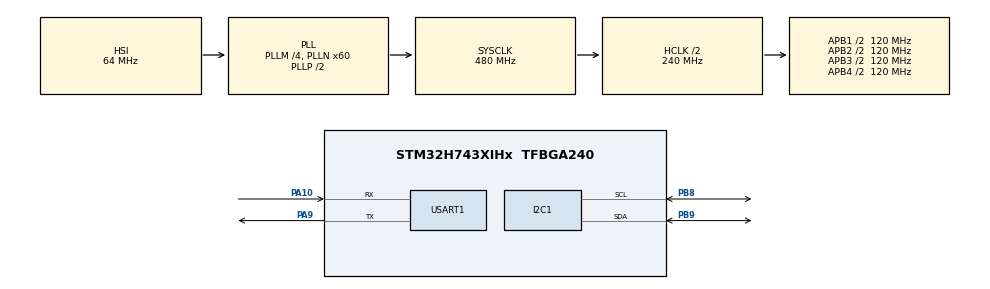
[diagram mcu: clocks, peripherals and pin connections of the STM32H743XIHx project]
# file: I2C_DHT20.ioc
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CORTEX_M7.default_mode_Activation=1
Dma.I2C1_RX.2.Direction=DMA_PERIPH_TO_MEMORY
Dma.I2C1_RX.2.EventEnable=DISABLE
Dma.I2C1_RX.2.FIFOMode=DMA_FIFOMODE_DISABLE
Dma.I2C1_RX.2.Instance=DMA1_Stream2
Dma.I2C1_RX.2.MemDataAlignment=DMA_MDATAALIGN_BYTE
Dma.I2C1_RX.2.MemInc=DMA_MINC_ENABLE
Dma.I2C1_RX.2.Mode=DMA_NORMAL
Dma.I2C1_RX.2.PeriphDataAlignment=DMA_PDATAALIGN_BYTE
Dma.I2C1_RX.2.PeriphInc=DMA_PINC_DISABLE
Dma.I2C1_RX.2.Polarity=HAL_DMAMUX_REQ_GEN_RISING
Dma.I2C1_RX.2.Priority=DMA_PRIORITY_LOW
Dma.I2C1_RX.2.RequestNumber=1
Dma.I2C1_RX.2.SignalID=NONE
Dma.I2C1_RX.2.SyncEnable=DISABLE
Dma.I2C1_RX.2.SyncPolarity=HAL_DMAMUX_SYNC_NO_EVENT
Dma.I2C1_RX.2.SyncRequestNumber=1
Dma.I2C1_RX.2.SyncSignalID=NONE
Dma.I2C1_TX.3.Direction=DMA_MEMORY_TO_PERIPH
Dma.I2C1_TX.3.EventEnable=DISABLE
Dma.I2C1_TX.3.FIFOMode=DMA_FIFOMODE_DISABLE
Dma.I2C1_TX.3.Instance=DMA1_Stream3
Dma.I2C1_TX.3.MemDataAlignment=DMA_MDATAALIGN_BYTE
Dma.I2C1_TX.3.MemInc=DMA_MINC_ENABLE
Dma.I2C1_TX.3.Mode=DMA_NORMAL
Dma.I2C1_TX.3.PeriphDataAlignment=DMA_PDATAALIGN_BYTE
Dma.I2C1_TX.3.PeriphInc=DMA_PINC_DISABLE
Dma.I2C1_TX.3.Polarity=HAL_DMAMUX_REQ_GEN_RISING
Dma.I2C1_TX.3.Priority=DMA_PRIORITY_LOW
Dma.I2C1_TX.3.RequestNumber=1
Dma.I2C1_TX.3.SignalID=NONE
Dma.I2C1_TX.3.SyncEnable=DISABLE
Dma.I2C1_TX.3.SyncPolarity=HAL_DMAMUX_SYNC_NO_EVENT
Dma.I2C1_TX.3.SyncRequestNumber=1
Dma.I2C1_TX.3.SyncSignalID=NONE
Dma.Request0=USART1_RX
Dma.Request1=USART1_TX
Dma.Request2=I2C1_RX
Dma.Request3=I2C1_TX
Dma.USART1_RX.0.Direction=DMA_PERIPH_TO_MEMORY
Dma.USART1_RX.0.EventEnable=DISABLE
Dma.USART1_RX.0.FIFOMode=DMA_FIFOMODE_DISABLE
Dma.USART1_RX.0.Instance=DMA1_Stream0
Dma.USART1_RX.0.MemDataAlignment=DMA_MDATAALIGN_BYTE
Dma.USART1_RX.0.MemInc=DMA_MINC_ENABLE
Dma.USART1_RX.0.Mode=DMA_NORMAL
Dma.USART1_RX.0.PeriphDataAlignment=DMA_PDATAALIGN_BYTE
Dma.USART1_RX.0.PeriphInc=DMA_PINC_DISABLE
Dma.USART1_RX.0.Polarity=HAL_DMAMUX_REQ_GEN_RISING
Dma.USART1_RX.0.Priority=DMA_PRIORITY_LOW
Dma.USART1_RX.0.RequestNumber=1
Dma.USART1_RX.0.SignalID=NONE
Dma.USART1_RX.0.SyncEnable=DISABLE
Dma.USART1_RX.0.SyncPolarity=HAL_DMAMUX_SYNC_NO_EVENT
Dma.USART1_RX.0.SyncRequestNumber=1
Dma.USART1_RX.0.SyncSignalID=NONE
Dma.USART1_TX.1.Direction=DMA_MEMORY_TO_PERIPH
Dma.USART1_TX.1.EventEnable=DISABLE
Dma.USART1_TX.1.FIFOMode=DMA_FIFOMODE_DISABLE
Dma.USART1_TX.1.Instance=DMA1_Stream1
Dma.USART1_TX.1.MemDataAlignment=DMA_MDATAALIGN_BYTE
Dma.USART1_TX.1.MemInc=DMA_MINC_ENABLE
Dma.USART1_TX.1.Mode=DMA_NORMAL
Dma.USART1_TX.1.PeriphDataAlignment=DMA_PDATAALIGN_BYTE
Dma.USART1_TX.1.PeriphInc=DMA_PINC_DISABLE
Dma.USART1_TX.1.Polarity=HAL_DMAMUX_REQ_GEN_RISING
Dma.USART1_TX.1.Priority=DMA_PRIORITY_LOW
Dma.USART1_TX.1.RequestNumber=1
Dma.USART1_TX.1.SignalID=NONE
Dma.USART1_TX.1.SyncEnable=DISABLE
Dma.USART1_TX.1.SyncPolarity=HAL_DMAMUX_SYNC_NO_EVENT
Dma.USART1_TX.1.SyncRequestNumber=1
Dma.USART1_TX.1.SyncSignalID=NONE
I2C1.Timing=0x307075B1
Mcu.Family=STM32H7
Mcu.Name=STM32H743XIHx
Mcu.Package=TFBGA240
NVIC.DMA1_Stream0_IRQn=true\:0\:0\:false\:false\:true\:false\:true\:true
NVIC.DMA1_Stream1_IRQn=true\:0\:0\:false\:false\:true\:false\:true\:true
NVIC.DMA1_Stream2_IRQn=true\:0\:0\:false\:false\:true\:false\:true\:true
NVIC.DMA1_Stream3_IRQn=true\:0\:0\:false\:false\:true\:false\:true\:true
NVIC.I2C1_ER_IRQn=true\:0\:0\:false\:false\:true\:true\:true\:true
NVIC.I2C1_EV_IRQn=true\:0\:0\:false\:false\:true\:true\:true\:true
NVIC.PriorityGroup=NVIC_PRIORITYGROUP_4
NVIC.USART1_IRQn=true\:0\:0\:false\:false\:true\:true\:true\:true
PA10.Mode=Asynchronous
PA10.Signal=USART1_RX
PA9.Mode=Asynchronous
PA9.Signal=USART1_TX
PB8.Mode=I2C
PB8.Signal=I2C1_SCL
PB9.Mode=I2C
PB9.Signal=I2C1_SDA
PC14-OSC32_IN\ (OSC32_IN).Mode=LSE-External-Oscillator
PC14-OSC32_IN\ (OSC32_IN).Signal=RCC_OSC32_IN
PC15-OSC32_OUT\ (OSC32_OUT).Mode=LSE-External-Oscillator
PC15-OSC32_OUT\ (OSC32_OUT).Signal=RCC_OSC32_OUT
PH0-OSC_IN\ (PH0).Mode=HSE-External-Oscillator
PH0-OSC_IN\ (PH0).Signal=RCC_OSC_IN
PH1-OSC_OUT\ (PH1).Mode=HSE-External-Oscillator
PH1-OSC_OUT\ (PH1).Signal=RCC_OSC_OUT
ProjectManager.HeapSize=0x200
ProjectManager.StackSize=0x400
ProjectManager.TargetToolchain=STM32CubeIDE
RCC.ADCFreq_Value=129000000
RCC.APB1Freq_Value=120000000
RCC.APB2Freq_Value=120000000
RCC.APB3Freq_Value=120000000
RCC.APB4Freq_Value=120000000
RCC.CortexFreq_Value=480000000
RCC.D1PPRE=RCC_APB3_DIV2
RCC.D2PPRE1=RCC_APB1_DIV2
RCC.D2PPRE2=RCC_APB2_DIV2
RCC.D3PPRE=RCC_APB4_DIV2
RCC.DIVM1=4
RCC.DIVN1=60
RCC.HCLKFreq_Value=240000000
RCC.HPRE=RCC_HCLK_DIV2
RCC.PLL2FRACN=0
RCC.PLL3FRACN=0
RCC.PLLFRACN=0
RCC.SYSCLKFreq_VALUE=480000000
RCC.SYSCLKSource=RCC_SYSCLKSOURCE_PLLCLK
RCC.USBFreq_Value=480000000
USART1.VirtualMode-Asynchronous=VM_ASYNC
board=custom

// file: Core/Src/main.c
/* USER CODE BEGIN Header */
/**
  ******************************************************************************
  * @file           : main.c
  * @brief          : Main program body
  ******************************************************************************
  * @attention
  *
  * Copyright (c) 2024 STMicroelectronics.
  * All rights reserved.
  *
  * This software is licensed under terms that can be found in the LICENSE file
  * in the root directory of this software component.
  * If no LICENSE file comes with this software, it is provided AS-IS.
  *
  ******************************************************************************
  */
/* USER CODE END Header */
#include "main.h"
#include "dma.h"
#include "i2c.h"
#include "usart.h"
#include "gpio.h"

/* USER CODE BEGIN Includes */

#include "dht20.h"
#include <stdio.h>
#include <string.h>

/* USER CODE END Includes */

/* USER CODE BEGIN PV */

// 0: 发送测量命令	1: 命令发送中		2: 80ms后读取DHT20状态		3: 数据读取中		4: 数据解析
uint8_t dht20State = 0;

/* USER CODE END PV */

void SystemClock_Config(void);
static void MPU_Config(void);

int main(void)
{

  /* MPU Configuration--------------------------------------------------------*/
  MPU_Config();

  /* MCU Configuration--------------------------------------------------------*/

  /* Reset of all peripherals, Initializes the Flash interface and the Systick. */
  HAL_Init();

  /* Configure the system clock */
  SystemClock_Config();

  /* Initialize all configured peripherals */
  MX_GPIO_Init();
  MX_DMA_Init();
  MX_USART1_UART_Init();
  MX_I2C1_Init();
  /* USER CODE BEGIN 2 */

  HAL_Delay(100);
  DHT20_Init();
  float temp = 0, humi = 0;
  char message[50] = { 0 };

  /* USER CODE END 2 */

  /* Infinite loop */
  /* USER CODE BEGIN WHILE */
  while (1)
  {
	  if(dht20State == 0)
	  {
		  DHT20_Measure();
		  dht20State = 1;
	  }
	  else if(dht20State == 2)
	  {
		HAL_Delay(80);
		while((STATUS_Read() & 0x80) == 0x80)
		{

		}
		DHT20_Get();
		dht20State = 3;
	  }
	  else if(dht20State == 4)
	  {
		  DHT20_Analysis(&temp, &humi);
		  sprintf(message, "温度: %.1f°C, 湿度: %.1f%%\r\n", temp, humi);
		  HAL_UART_Transmit(&huart1, (uint8_t*)message, strlen(message), HAL_MAX_DELAY);
		  HAL_Delay(1000);
		  dht20State = 0;
	  }

//	  DHT20_Read(&temp, &humi);
//	  sprintf(message, "温度: %.1f°C, 湿度: %.1f%%\r\n", temp, humi);
//	  HAL_UART_Transmit(&huart1, (uint8_t*)message, strlen(message), HAL_MAX_DELAY);
//	  HAL_Delay(1000);

    /* USER CODE END WHILE */

  }
}

void SystemClock_Config(void)
{
  RCC_OscInitTypeDef RCC_OscInitStruct = {0};
  RCC_ClkInitTypeDef RCC_ClkInitStruct = {0};

  /** Supply configuration update enable
  */
  HAL_PWREx_ConfigSupply(PWR_LDO_SUPPLY);

  /** Configure the main internal regulator output voltage
  */
  __HAL_PWR_VOLTAGESCALING_CONFIG(PWR_REGULATOR_VOLTAGE_SCALE1);

  while(!__HAL_PWR_GET_FLAG(PWR_FLAG_VOSRDY)) {}

  __HAL_RCC_SYSCFG_CLK_ENABLE();
  __HAL_PWR_VOLTAGESCALING_CONFIG(PWR_REGULATOR_VOLTAGE_SCALE0);

  while(!__HAL_PWR_GET_FLAG(PWR_FLAG_VOSRDY)) {}

  /** Initializes the RCC Oscillators according to the specified parameters
  * in the RCC_OscInitTypeDef structure.
  */
  RCC_OscInitStruct.OscillatorType = RCC_OSCILLATORTYPE_HSI;
  RCC_OscInitStruct.HSIState = RCC_HSI_DIV1;
  RCC_OscInitStruct.HSICalibrationValue = RCC_HSICALIBRATION_DEFAULT;
  RCC_OscInitStruct.PLL.PLLState = RCC_PLL_ON;
  RCC_OscInitStruct.PLL.PLLSource = RCC_PLLSOURCE_HSI;
  RCC_OscInitStruct.PLL.PLLM = 4;
  RCC_OscInitStruct.PLL.PLLN = 60;
  RCC_OscInitStruct.PLL.PLLP = 2;
  RCC_OscInitStruct.PLL.PLLQ = 2;
  RCC_OscInitStruct.PLL.PLLR = 2;
  RCC_OscInitStruct.PLL.PLLRGE = RCC_PLL1VCIRANGE_3;
  RCC_OscInitStruct.PLL.PLLVCOSEL = RCC_PLL1VCOWIDE;
  RCC_OscInitStruct.PLL.PLLFRACN = 0;
  if (HAL_RCC_OscConfig(&RCC_OscInitStruct) != HAL_OK)
  {
    Error_Handler();
  }

  /** Initializes the CPU, AHB and APB buses clocks
  */
  RCC_ClkInitStruct.ClockType = RCC_CLOCKTYPE_HCLK|RCC_CLOCKTYPE_SYSCLK
                              |RCC_CLOCKTYPE_PCLK1|RCC_CLOCKTYPE_PCLK2
                              |RCC_CLOCKTYPE_D3PCLK1|RCC_CLOCKTYPE_D1PCLK1;
  RCC_ClkInitStruct.SYSCLKSource = RCC_SYSCLKSOURCE_PLLCLK;
  RCC_ClkInitStruct.SYSCLKDivider = RCC_SYSCLK_DIV1;
  RCC_ClkInitStruct.AHBCLKDivider = RCC_HCLK_DIV2;
  RCC_ClkInitStruct.APB3CLKDivider = RCC_APB3_DIV2;
  RCC_ClkInitStruct.APB1CLKDivider = RCC_APB1_DIV2;
  RCC_ClkInitStruct.APB2CLKDivider = RCC_APB2_DIV2;
  RCC_ClkInitStruct.APB4CLKDivider = RCC_APB4_DIV2;

  if (HAL_RCC_ClockConfig(&RCC_ClkInitStruct, FLASH_LATENCY_4) != HAL_OK)
  {
    Error_Handler();
  }
}

 /* MPU Configuration */

void MPU_Config(void)
{
  MPU_Region_InitTypeDef MPU_InitStruct = {0};

  /* Disables the MPU */
  HAL_MPU_Disable();

  /** Initializes and configures the Region and the memory to be protected
  */
  MPU_InitStruct.Enable = MPU_REGION_ENABLE;
  MPU_InitStruct.Number = MPU_REGION_NUMBER0;
  MPU_InitStruct.BaseAddress = 0x0;
  MPU_InitStruct.Size = MPU_REGION_SIZE_4GB;
  MPU_InitStruct.SubRegionDisable = 0x87;
  MPU_InitStruct.TypeExtField = MPU_TEX_LEVEL0;
  MPU_InitStruct.AccessPermission = MPU_REGION_NO_ACCESS;
  MPU_InitStruct.DisableExec = MPU_INSTRUCTION_ACCESS_DISABLE;
  MPU_InitStruct.IsShareable = MPU_ACCESS_SHAREABLE;
  MPU_InitStruct.IsCacheable = MPU_ACCESS_NOT_CACHEABLE;
  MPU_InitStruct.IsBufferable = MPU_ACCESS_NOT_BUFFERABLE;

  HAL_MPU_ConfigRegion(&MPU_InitStruct);
  /* Enables the MPU */
  HAL_MPU_Enable(MPU_PRIVILEGED_DEFAULT);

}

void Error_Handler(void)
{
  __disable_irq();
  while (1)
  {
  }
}
